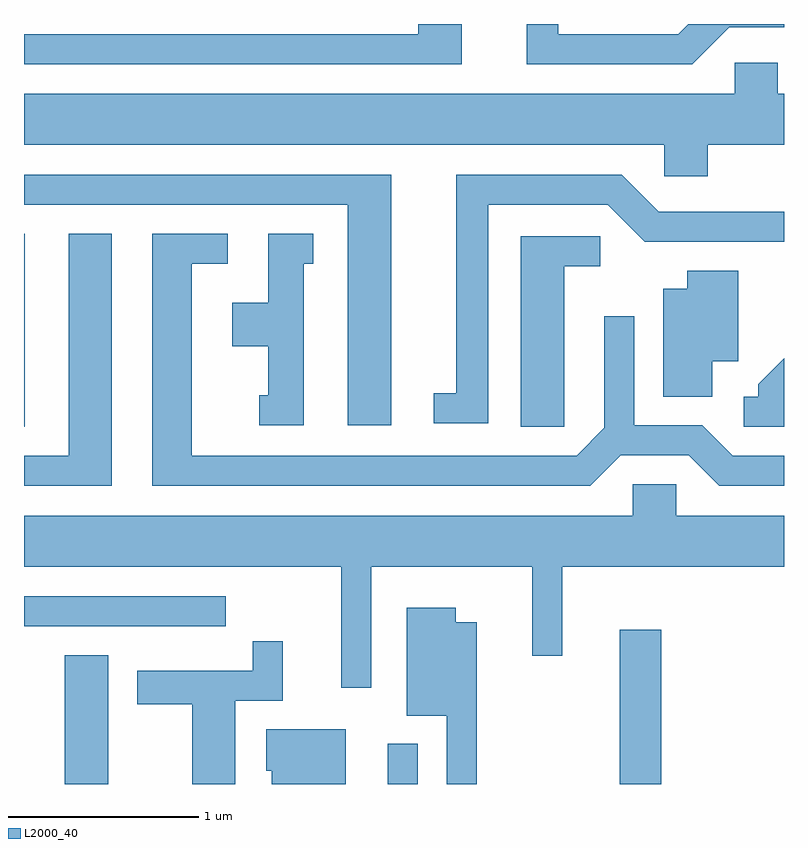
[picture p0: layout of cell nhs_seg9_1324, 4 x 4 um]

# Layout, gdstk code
import gdstk
lib = gdstk.Library(unit=1e-6, precision=1e-09)
def R(c, l, rs):  # rectangles x0, y0, x1, y1
    for r in rs: c.add(gdstk.rectangle(r[:2], r[2:], *l))
def P(c, l, *ps):  # polygons
    for p in ps: c.add(gdstk.Polygon(p, *l))
L2000_40 = (2000, 40)

nhs_seg9_1324 = lib.new_cell('nhs_seg9_1324')
R(nhs_seg9_1324, L2000_40, [(223.826,2008.432,224.054,2009.109), (225.526,2008.432,225.684,2008.643), (226.746,2008.432,226.964,2009.244), (223.611,2009.261,224.673,2009.419), (223.611,2010.311,223.614,2011.329)])
P(nhs_seg9_1324, L2000_40, [(227.322,2012.416),(227.611,2012.416),(227.611,2012.432),(227.107,2012.432),(227.054,2012.379),(226.424,2012.379),(226.424,2012.432),(226.256,2012.432),(226.256,2012.221),(227.127,2012.221)],
  [(225.914,2012.432),(225.686,2012.432),(225.686,2012.379),(223.611,2012.379),(223.611,2012.221),(225.914,2012.221)],
  [(227.209,2011.796),(227.611,2011.796),(227.611,2012.064),(227.579,2012.064),(227.579,2012.229),(227.351,2012.229),(227.351,2012.064),(223.611,2012.064),(223.611,2011.796),(226.981,2011.796),(226.981,2011.631),(227.209,2011.631)],
  [(226.054,2011.481),(226.684,2011.481),(226.879,2011.286),(227.611,2011.286),(227.611,2011.444),(226.952,2011.444),(226.757,2011.639),(225.886,2011.639),(225.886,2010.489),(225.768,2010.489),(225.768,2010.331),(226.054,2010.331)],
  [(225.544,2011.639),(223.611,2011.639),(223.611,2011.481),(225.316,2011.481),(225.316,2010.321),(225.544,2010.321)],
  [(226.752,2010.161),(227.109,2010.161),(227.269,2010.001),(227.611,2010.001),(227.611,2010.159),(227.342,2010.159),(227.182,2010.319),(226.824,2010.319),(226.824,2010.893),(226.666,2010.893),(226.666,2010.307),(226.519,2010.159),(224.494,2010.159),(224.494,2011.171),(224.683,2011.171),(224.683,2011.329),(224.286,2011.329),(224.286,2010.001),(226.592,2010.001)],
  [(224.074,2011.329),(223.846,2011.329),(223.846,2010.159),(223.611,2010.159),(223.611,2010.001),(224.074,2010.001)],
  [(225.084,2011.171),(225.133,2011.171),(225.133,2011.329),(224.896,2011.329),(224.896,2010.964),(224.706,2010.964),(224.706,2010.736),(224.896,2010.736),(224.896,2010.479),(224.848,2010.479),(224.848,2010.321),(225.084,2010.321)],
  [(226.454,2011.156),(226.643,2011.156),(226.643,2011.314),(226.226,2011.314),(226.226,2010.311),(226.454,2010.311)],
  [(227.234,2010.656),(227.369,2010.656),(227.369,2011.134),(227.101,2011.134),(227.101,2011.039),(226.976,2011.039),(226.976,2010.471),(227.234,2010.471)],
  [(227.611,2010.672),(227.476,2010.537),(227.476,2010.469),(227.398,2010.469),(227.398,2010.311),(227.611,2010.311)],
  [(225.439,2009.576),(226.286,2009.576),(226.286,2009.108),(226.444,2009.108),(226.444,2009.576),(227.611,2009.576),(227.611,2009.844),(227.044,2009.844),(227.044,2010.009),(226.816,2010.009),(226.816,2009.844),(223.611,2009.844),(223.611,2009.576),(225.281,2009.576),(225.281,2008.938),(225.439,2008.938)],
  [(225.994,2009.284),(225.884,2009.284),(225.884,2009.359),(225.626,2009.359),(225.626,2008.791),(225.836,2008.791),(225.836,2008.432),(225.994,2008.432)],
  [(224.724,2008.871),(224.974,2008.871),(224.974,2009.183),(224.816,2009.183),(224.816,2009.029),(224.206,2009.029),(224.206,2008.851),(224.496,2008.851),(224.496,2008.432),(224.724,2008.432)],
  [(225.304,2008.719),(224.886,2008.719),(224.886,2008.501),(224.916,2008.501),(224.916,2008.432),(225.304,2008.432)])

lib.write_gds('nhs_seg9_1324.gds')
